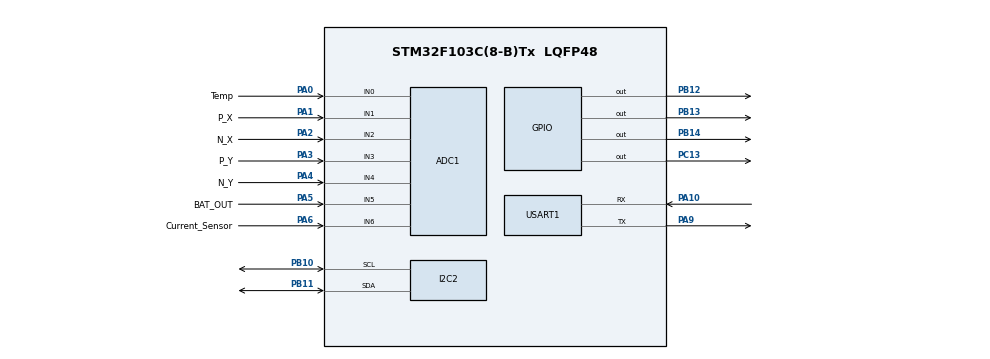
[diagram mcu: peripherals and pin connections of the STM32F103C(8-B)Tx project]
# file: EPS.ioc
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ADC1.Channel-0\#ChannelRegularConversion=ADC_CHANNEL_0
ADC1.NbrOfConversionFlag=1
ADC1.Rank-0\#ChannelRegularConversion=1
ADC1.SamplingTime-0\#ChannelRegularConversion=ADC_SAMPLETIME_1CYCLE_5
ADC1.master=1
Mcu.Family=STM32F1
Mcu.Name=STM32F103C(8-B)Tx
Mcu.Package=LQFP48
NVIC.PriorityGroup=NVIC_PRIORITYGROUP_4
NVIC.USART1_IRQn=true\:0\:0\:false\:false\:true\:true\:true\:true
PA0-WKUP.GPIO_Label=Temp
PA0-WKUP.Signal=ADCx_IN0
PA1.GPIO_Label=P_X
PA1.Signal=ADCx_IN1
PA10.Mode=Asynchronous
PA10.Signal=USART1_RX
PA13.Mode=Serial_Wire
PA13.Signal=SYS_JTMS-SWDIO
PA14.Mode=Serial_Wire
PA14.Signal=SYS_JTCK-SWCLK
PA2.GPIO_Label=N_X
PA2.Signal=ADCx_IN2
PA3.GPIO_Label=P_Y
PA3.Signal=ADCx_IN3
PA4.GPIO_Label=N_Y
PA4.Signal=ADCx_IN4
PA5.GPIO_Label=BAT_OUT
PA5.Signal=ADCx_IN5
PA6.GPIO_Label=Current_Sensor
PA6.Signal=ADCx_IN6
PA9.Mode=Asynchronous
PA9.Signal=USART1_TX
PB10.Mode=I2C
PB10.Signal=I2C2_SCL
PB11.Mode=I2C
PB11.Signal=I2C2_SDA
PB12.GPIO_PuPd=GPIO_PULLDOWN
PB12.Signal=GPIO_Output
PB13.GPIO_PuPd=GPIO_PULLDOWN
PB13.Signal=GPIO_Output
PB14.GPIO_PuPd=GPIO_PULLDOWN
PB14.Signal=GPIO_Output
PC13-TAMPER-RTC.GPIO_PuPd=GPIO_PULLDOWN
PC13-TAMPER-RTC.Signal=GPIO_Output
ProjectManager.HeapSize=0x200
ProjectManager.StackSize=0x400
ProjectManager.TargetToolchain=STM32CubeIDE
RCC.APB1Freq_Value=8000000
RCC.APB2Freq_Value=8000000
SH.ADCx_IN0.0=ADC1_IN0,IN0
SH.ADCx_IN1.0=ADC1_IN1,IN1
SH.ADCx_IN2.0=ADC1_IN2,IN2
SH.ADCx_IN3.0=ADC1_IN3,IN3
SH.ADCx_IN4.0=ADC1_IN4,IN4
SH.ADCx_IN5.0=ADC1_IN5,IN5
SH.ADCx_IN6.0=ADC1_IN6,IN6
USART1.VirtualMode=VM_ASYNC
board=custom

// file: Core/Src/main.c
/* USER CODE BEGIN Header */
/**
  ******************************************************************************
  * @file           : main.c
  * @brief          : Main program body - EPS Control System
  ******************************************************************************
  * @attention
  *
  * Copyright (c) 2025 STMicroelectronics.
  * All rights reserved.
  *
  * This software is licensed under terms that can be found in the LICENSE file
  * in the root directory of this software component.
  * If no LICENSE file comes with this software, it is provided AS-IS.
  *
  ******************************************************************************
  */
/* USER CODE END Header */
#include "main.h"

/* USER CODE BEGIN Includes */
#include "lm35.h"
#include "eps_analog.h"
#include "config.h"
#include <stdio.h>
#include <string.h>
/* USER CODE END Includes */

ADC_HandleTypeDef hadc1;
I2C_HandleTypeDef hi2c2;
UART_HandleTypeDef huart1;

/* USER CODE BEGIN PV */
eps_data_t eps_data;
uint32_t last_read_time = 0;
uint32_t last_led_toggle = 0;
uint8_t led_state = 0;
char uart_buffer[200];
char uart_rx_buffer[50];
uint8_t uart_rx_index = 0;
uint8_t uart_rx_char;
volatile uint8_t uart_rx_complete = 0;  // Made volatile for interrupt safety
uint8_t i2c_data_buffer[32];

// Power control states (0 = OFF, 1 = ON)
uint8_t power_states[3] = {0, 0, 0}; // ADCS, COMM, PAYLOAD - start with all OFF
/* USER CODE END PV */

void SystemClock_Config(void);
static void MX_GPIO_Init(void);
static void MX_ADC1_Init(void);
static void MX_I2C2_Init(void);
static void MX_USART1_UART_Init(void);
/* USER CODE BEGIN PFP */
void HAL_UART_RxCpltCallback(UART_HandleTypeDef *huart);
void Process_UART_Command(void);
void Send_I2C_Data(void);
/* USER CODE END PFP */

int main(void)
{

  /* MCU Configuration--------------------------------------------------------*/

  /* Reset of all peripherals, Initializes the Flash interface and the Systick. */
  HAL_Init();

  /* Configure the system clock */
  SystemClock_Config();

  /* Initialize all configured peripherals */
  MX_GPIO_Init();
  MX_ADC1_Init();
  MX_I2C2_Init();
  MX_USART1_UART_Init();

  /* USER CODE BEGIN 2 */
  // Initialize EPS systems
  LM35_Init(&hadc1);
  EPS_Analog_Init(&hadc1);

  // Initialize power control (all subsystems OFF initially)
  EPS_PowerControlAll(0);
  power_states[0] = 0; // ADCS OFF
  power_states[1] = 0; // COMM OFF
  power_states[2] = 0; // PAYLOAD OFF

  // Initialize LED (PC13) OFF
  HAL_GPIO_WritePin(GPIOC, GPIO_PIN_13, GPIO_PIN_RESET);

  // Send startup messages
  HAL_Delay(100); // Small delay to ensure UART is ready
  strcpy(uart_buffer, "\r\n=== EPS System Initialized ===\r\n");
  HAL_UART_Transmit(&huart1, (uint8_t*)uart_buffer, strlen(uart_buffer), 1000);

  strcpy(uart_buffer, "All subsystems powered OFF by default\r\n");
  HAL_UART_Transmit(&huart1, (uint8_t*)uart_buffer, strlen(uart_buffer), 1000);

  strcpy(uart_buffer, "Available commands:\r\n");
  HAL_UART_Transmit(&huart1, (uint8_t*)uart_buffer, strlen(uart_buffer), 1000);

  strcpy(uart_buffer, "  ADCS_ON, ADCS_OFF\r\n");
  HAL_UART_Transmit(&huart1, (uint8_t*)uart_buffer, strlen(uart_buffer), 1000);

  strcpy(uart_buffer, "  COMM_ON, COMM_OFF\r\n");
  HAL_UART_Transmit(&huart1, (uint8_t*)uart_buffer, strlen(uart_buffer), 1000);

  strcpy(uart_buffer, "  PAYLOAD_ON, PAYLOAD_OFF\r\n");
  HAL_UART_Transmit(&huart1, (uint8_t*)uart_buffer, strlen(uart_buffer), 1000);

  strcpy(uart_buffer, "  STATUS\r\n");
  HAL_UART_Transmit(&huart1, (uint8_t*)uart_buffer, strlen(uart_buffer), 1000);

  strcpy(uart_buffer, "Ready for commands...\r\n\r\n");
  HAL_UART_Transmit(&huart1, (uint8_t*)uart_buffer, strlen(uart_buffer), 1000);

  // Initialize UART receive buffer and start interrupt-based reception
  memset(uart_rx_buffer, 0, sizeof(uart_rx_buffer));
  uart_rx_index = 0;
  uart_rx_complete = 0;

  // Start UART reception interrupt
  if (HAL_UART_Receive_IT(&huart1, &uart_rx_char, 1) != HAL_OK) {
      strcpy(uart_buffer, "ERROR: Failed to start UART reception\r\n");
      HAL_UART_Transmit(&huart1, (uint8_t*)uart_buffer, strlen(uart_buffer), 1000);
  }

  last_read_time = HAL_GetTick();
  last_led_toggle = HAL_GetTick();
  /* USER CODE END 2 */

  /* Infinite loop */
  while (1)
  {

    /* USER CODE BEGIN 3 */
    uint32_t current_time = HAL_GetTick();

    // Toggle LED every 500ms to indicate system is alive
    if (current_time - last_led_toggle >= 500) {
        last_led_toggle = current_time;
        led_state = !led_state;
        HAL_GPIO_WritePin(GPIOC, GPIO_PIN_13, led_state ? GPIO_PIN_SET : GPIO_PIN_RESET);
    }

    // Check for completed UART commands
    if (uart_rx_complete) {
        uart_rx_complete = 0;
        Process_UART_Command();
    }

    // Read sensors every EPS_READ_INTERVAL_MS (1 second)
    if (current_time - last_read_time >= EPS_READ_INTERVAL_MS) {
        last_read_time = current_time;

        // Read all analog channels
        if (EPS_ReadAllChannels(&hadc1, &eps_data) == HAL_OK) {

            // Format and send detailed readings via UART
            strcpy(uart_buffer, "=== EPS READINGS ===\r\n");
            HAL_UART_Transmit(&huart1, (uint8_t*)uart_buffer, strlen(uart_buffer), 1000);

            snprintf(uart_buffer, sizeof(uart_buffer), "Temperature: %.2f °C\r\n", eps_data.temperature);
            HAL_UART_Transmit(&huart1, (uint8_t*)uart_buffer, strlen(uart_buffer), 1000);

            snprintf(uart_buffer, sizeof(uart_buffer), "Solar Panel +X: %.3f V\r\n", eps_data.solar_p_x);
            HAL_UART_Transmit(&huart1, (uint8_t*)uart_buffer, strlen(uart_buffer), 1000);

            snprintf(uart_buffer, sizeof(uart_buffer), "Solar Panel -X: %.3f V\r\n", eps_data.solar_n_x);
            HAL_UART_Transmit(&huart1, (uint8_t*)uart_buffer, strlen(uart_buffer), 1000);

            snprintf(uart_buffer, sizeof(uart_buffer), "Solar Panel +Y: %.3f V\r\n", eps_data.solar_p_y);
            HAL_UART_Transmit(&huart1, (uint8_t*)uart_buffer, strlen(uart_buffer), 1000);

            snprintf(uart_buffer, sizeof(uart_buffer), "Solar Panel -Y: %.3f V\r\n", eps_data.solar_n_y);
            HAL_UART_Transmit(&huart1, (uint8_t*)uart_buffer, strlen(uart_buffer), 1000);

            snprintf(uart_buffer, sizeof(uart_buffer), "Battery Voltage: %.3f V\r\n", eps_data.battery_voltage);
            HAL_UART_Transmit(&huart1, (uint8_t*)uart_buffer, strlen(uart_buffer), 1000);

            snprintf(uart_buffer, sizeof(uart_buffer), "Current Sensor: %.3f V\r\n", eps_data.current_sensor);
            HAL_UART_Transmit(&huart1, (uint8_t*)uart_buffer, strlen(uart_buffer), 1000);

            // Calculate and display total solar power
            float solar_total = eps_data.solar_p_x + eps_data.solar_n_x + eps_data.solar_p_y + eps_data.solar_n_y;
            snprintf(uart_buffer, sizeof(uart_buffer), "Total Solar Voltage: %.3f V\r\n", solar_total);
            HAL_UART_Transmit(&huart1, (uint8_t*)uart_buffer, strlen(uart_buffer), 1000);

            // Display current power status
            snprintf(uart_buffer, sizeof(uart_buffer), "Power Status: ADCS=%s, COMM=%s, PAYLOAD=%s\r\n",
                     power_states[0] ? "ON" : "OFF",
                     power_states[1] ? "ON" : "OFF",
                     power_states[2] ? "ON" : "OFF");
            HAL_UART_Transmit(&huart1, (uint8_t*)uart_buffer, strlen(uart_buffer), 1000);

            strcpy(uart_buffer, "==================\r\n\r\n");
            HAL_UART_Transmit(&huart1, (uint8_t*)uart_buffer, strlen(uart_buffer), 1000);

            // Send data via I2C to other subsystems
            Send_I2C_Data();

        } else {
            strcpy(uart_buffer, "ERROR: Failed to read analog channels\r\n");
            HAL_UART_Transmit(&huart1, (uint8_t*)uart_buffer, strlen(uart_buffer), 1000);
        }
    }

    HAL_Delay(10);  // Small delay to prevent overwhelming the system
  }
  /* USER CODE END 3 */
}

void SystemClock_Config(void)
{
  RCC_OscInitTypeDef RCC_OscInitStruct = {0};
  RCC_ClkInitTypeDef RCC_ClkInitStruct = {0};
  RCC_PeriphCLKInitTypeDef PeriphClkInit = {0};

  /** Initializes the RCC Oscillators according to the specified parameters
  * in the RCC_OscInitTypeDef structure.
  */
  RCC_OscInitStruct.OscillatorType = RCC_OSCILLATORTYPE_HSI;
  RCC_OscInitStruct.HSIState = RCC_HSI_ON;
  RCC_OscInitStruct.HSICalibrationValue = RCC_HSICALIBRATION_DEFAULT;
  RCC_OscInitStruct.PLL.PLLState = RCC_PLL_NONE;
  if (HAL_RCC_OscConfig(&RCC_OscInitStruct) != HAL_OK)
  {
    Error_Handler();
  }

  /** Initializes the CPU, AHB and APB buses clocks
  */
  RCC_ClkInitStruct.ClockType = RCC_CLOCKTYPE_HCLK|RCC_CLOCKTYPE_SYSCLK
                              |RCC_CLOCKTYPE_PCLK1|RCC_CLOCKTYPE_PCLK2;
  RCC_ClkInitStruct.SYSCLKSource = RCC_SYSCLKSOURCE_HSI;
  RCC_ClkInitStruct.AHBCLKDivider = RCC_SYSCLK_DIV1;
  RCC_ClkInitStruct.APB1CLKDivider = RCC_HCLK_DIV1;
  RCC_ClkInitStruct.APB2CLKDivider = RCC_HCLK_DIV1;

  if (HAL_RCC_ClockConfig(&RCC_ClkInitStruct, FLASH_LATENCY_0) != HAL_OK)
  {
    Error_Handler();
  }
  PeriphClkInit.PeriphClockSelection = RCC_PERIPHCLK_ADC;
  PeriphClkInit.AdcClockSelection = RCC_ADCPCLK2_DIV2;
  if (HAL_RCCEx_PeriphCLKConfig(&PeriphClkInit) != HAL_OK)
  {
    Error_Handler();
  }
}

static void MX_ADC1_Init(void)
{

  ADC_ChannelConfTypeDef sConfig = {0};

  /** Common config
  */
  hadc1.Instance = ADC1;
  hadc1.Init.ScanConvMode = ADC_SCAN_DISABLE;
  hadc1.Init.ContinuousConvMode = DISABLE;
  hadc1.Init.DiscontinuousConvMode = DISABLE;
  hadc1.Init.ExternalTrigConv = ADC_SOFTWARE_START;
  hadc1.Init.DataAlign = ADC_DATAALIGN_RIGHT;
  hadc1.Init.NbrOfConversion = 1;
  if (HAL_ADC_Init(&hadc1) != HAL_OK)
  {
    Error_Handler();
  }

  /** Configure Regular Channel
  */
  sConfig.Channel = ADC_CHANNEL_0;
  sConfig.Rank = ADC_REGULAR_RANK_1;
  sConfig.SamplingTime = ADC_SAMPLETIME_1CYCLE_5;
  if (HAL_ADC_ConfigChannel(&hadc1, &sConfig) != HAL_OK)
  {
    Error_Handler();
  }
}

static void MX_I2C2_Init(void)
{

  hi2c2.Instance = I2C2;
  hi2c2.Init.ClockSpeed = 100000;
  hi2c2.Init.DutyCycle = I2C_DUTYCYCLE_2;
  hi2c2.Init.OwnAddress1 = 0;
  hi2c2.Init.AddressingMode = I2C_ADDRESSINGMODE_7BIT;
  hi2c2.Init.DualAddressMode = I2C_DUALADDRESS_DISABLE;
  hi2c2.Init.OwnAddress2 = 0;
  hi2c2.Init.GeneralCallMode = I2C_GENERALCALL_DISABLE;
  hi2c2.Init.NoStretchMode = I2C_NOSTRETCH_DISABLE;
  if (HAL_I2C_Init(&hi2c2) != HAL_OK)
  {
    Error_Handler();
  }
}

static void MX_USART1_UART_Init(void)
{

  huart1.Instance = USART1;
  huart1.Init.BaudRate = 115200;
  huart1.Init.WordLength = UART_WORDLENGTH_8B;
  huart1.Init.StopBits = UART_STOPBITS_1;
  huart1.Init.Parity = UART_PARITY_NONE;
  huart1.Init.Mode = UART_MODE_TX_RX;
  huart1.Init.HwFlowCtl = UART_HWCONTROL_NONE;
  huart1.Init.OverSampling = UART_OVERSAMPLING_16;
  if (HAL_UART_Init(&huart1) != HAL_OK)
  {
    Error_Handler();
  }
}

static void MX_GPIO_Init(void)
{
  GPIO_InitTypeDef GPIO_InitStruct = {0};

  /* GPIO Ports Clock Enable */
  __HAL_RCC_GPIOC_CLK_ENABLE();
  __HAL_RCC_GPIOA_CLK_ENABLE();
  __HAL_RCC_GPIOB_CLK_ENABLE();

  /*Configure GPIO pin Output Level */
  HAL_GPIO_WritePin(GPIOC, GPIO_PIN_13, GPIO_PIN_RESET);

  /*Configure GPIO pin Output Level */
  HAL_GPIO_WritePin(GPIOB, GPIO_PIN_12|GPIO_PIN_13|GPIO_PIN_14, GPIO_PIN_RESET);

  /*Configure GPIO pin : PC13 */
  GPIO_InitStruct.Pin = GPIO_PIN_13;
  GPIO_InitStruct.Mode = GPIO_MODE_OUTPUT_PP;
  GPIO_InitStruct.Pull = GPIO_PULLDOWN;
  GPIO_InitStruct.Speed = GPIO_SPEED_FREQ_LOW;
  HAL_GPIO_Init(GPIOC, &GPIO_InitStruct);

  /*Configure GPIO pins : PB12 PB13 PB14 */
  GPIO_InitStruct.Pin = GPIO_PIN_12|GPIO_PIN_13|GPIO_PIN_14;
  GPIO_InitStruct.Mode = GPIO_MODE_OUTPUT_PP;
  GPIO_InitStruct.Pull = GPIO_PULLDOWN;
  GPIO_InitStruct.Speed = GPIO_SPEED_FREQ_LOW;
  HAL_GPIO_Init(GPIOB, &GPIO_InitStruct);

}

/* USER CODE BEGIN 4 */

/**
  * @brief  UART Rx Transfer completed callback
  * @param  huart: UART handle
  * @retval None
  */
void HAL_UART_RxCpltCallback(UART_HandleTypeDef *huart)
{
    if (huart->Instance == USART1)
    {
        if (uart_rx_char == '\r' || uart_rx_char == '\n')
        {
            // Command complete - only process if we have received characters
            if (uart_rx_index > 0)
            {
                uart_rx_buffer[uart_rx_index] = '\0';
                uart_rx_complete = 1;
                uart_rx_index = 0;
            }
        }
        else if (uart_rx_index < sizeof(uart_rx_buffer) - 1)
        {
            // Store character and increment index
            uart_rx_buffer[uart_rx_index++] = uart_rx_char;
        }
        else
        {
            // Buffer overflow - reset
            uart_rx_index = 0;
            memset(uart_rx_buffer, 0, sizeof(uart_rx_buffer));
        }

        // Restart reception for next character
        HAL_UART_Receive_IT(&huart1, &uart_rx_char, 1);
    }
}

/**
  * @brief  Process received UART command
  * @param  None
  * @retval None
  */
void Process_UART_Command(void)
{
    // Convert to uppercase for case-insensitive comparison
    for (int i = 0; uart_rx_buffer[i]; i++) {
        if (uart_rx_buffer[i] >= 'a' && uart_rx_buffer[i] <= 'z') {
            uart_rx_buffer[i] = uart_rx_buffer[i] - 'a' + 'A';
        }
    }

    // Echo received command for debugging
    snprintf(uart_buffer, sizeof(uart_buffer), "Received: %s\r\n", uart_rx_buffer);
    HAL_UART_Transmit(&huart1, (uint8_t*)uart_buffer, strlen(uart_buffer), 1000);

    // Process commands
    if (strcmp(uart_rx_buffer, "ADCS_OFF") == 0) {
        EPS_PowerControl(POWER_SUBSYS_1, 0);
        power_states[0] = 0;
        strcpy(uart_buffer, "COMMAND: ADCS subsystem powered OFF (PB12=LOW)\r\n");
        HAL_UART_Transmit(&huart1, (uint8_t*)uart_buffer, strlen(uart_buffer), 1000);
    }
    else if (strcmp(uart_rx_buffer, "ADCS_ON") == 0) {
        EPS_PowerControl(POWER_SUBSYS_1, 1);
        power_states[0] = 1;
        strcpy(uart_buffer, "COMMAND: ADCS subsystem powered ON (PB12=HIGH)\r\n");
        HAL_UART_Transmit(&huart1, (uint8_t*)uart_buffer, strlen(uart_buffer), 1000);
    }
    else if (strcmp(uart_rx_buffer, "COMM_OFF") == 0) {
        EPS_PowerControl(POWER_SUBSYS_2, 0);
        power_states[1] = 0;
        strcpy(uart_buffer, "COMMAND: COMM subsystem powered OFF (PB13=LOW)\r\n");
        HAL_UART_Transmit(&huart1, (uint8_t*)uart_buffer, strlen(uart_buffer), 1000);
    }
    else if (strcmp(uart_rx_buffer, "COMM_ON") == 0) {
        EPS_PowerControl(POWER_SUBSYS_2, 1);
        power_states[1] = 1;
        strcpy(uart_buffer, "COMMAND: COMM subsystem powered ON (PB13=HIGH)\r\n");
        HAL_UART_Transmit(&huart1, (uint8_t*)uart_buffer, strlen(uart_buffer), 1000);
    }
    else if (strcmp(uart_rx_buffer, "PAYLOAD_OFF") == 0) {
        EPS_PowerControl(POWER_SUBSYS_3, 0);
        power_states[2] = 0;
        strcpy(uart_buffer, "COMMAND: PAYLOAD subsystem powered OFF (PB14=LOW)\r\n");
        HAL_UART_Transmit(&huart1, (uint8_t*)uart_buffer, strlen(uart_buffer), 1000);
    }
    else if (strcmp(uart_rx_buffer, "PAYLOAD_ON") == 0) {
        EPS_PowerControl(POWER_SUBSYS_3, 1);
        power_states[2] = 1;
        strcpy(uart_buffer, "COMMAND: PAYLOAD subsystem powered ON (PB14=HIGH)\r\n");
        HAL_UART_Transmit(&huart1, (uint8_t*)uart_buffer, strlen(uart_buffer), 1000);
    }
    else if (strcmp(uart_rx_buffer, "STATUS") == 0) {
        snprintf(uart_buffer, sizeof(uart_buffer), "POWER STATUS:\r\n");
        HAL_UART_Transmit(&huart1, (uint8_t*)uart_buffer, strlen(uart_buffer), 1000);
        snprintf(uart_buffer, sizeof(uart_buffer), "  ADCS (PB12): %s\r\n", power_states[0] ? "ON" : "OFF");
        HAL_UART_Transmit(&huart1, (uint8_t*)uart_buffer, strlen(uart_buffer), 1000);
        snprintf(uart_buffer, sizeof(uart_buffer), "  COMM (PB13): %s\r\n", power_states[1] ? "ON" : "OFF");
        HAL_UART_Transmit(&huart1, (uint8_t*)uart_buffer, strlen(uart_buffer), 1000);
        snprintf(uart_buffer, sizeof(uart_buffer), "  PAYLOAD (PB14): %s\r\n", power_states[2] ? "ON" : "OFF");
        HAL_UART_Transmit(&huart1, (uint8_t*)uart_buffer, strlen(uart_buffer), 1000);
    }
    else {
        snprintf(uart_buffer, sizeof(uart_buffer), "ERROR: Unknown command '%s'\r\n", uart_rx_buffer);
        HAL_UART_Transmit(&huart1, (uint8_t*)uart_buffer, strlen(uart_buffer), 1000);
        strcpy(uart_buffer, "Valid commands: ADCS_ON, ADCS_OFF, COMM_ON, COMM_OFF, PAYLOAD_ON, PAYLOAD_OFF, STATUS\r\n");
        HAL_UART_Transmit(&huart1, (uint8_t*)uart_buffer, strlen(uart_buffer), 1000);
    }

    // Clear the receive buffer
    memset(uart_rx_buffer, 0, sizeof(uart_rx_buffer));
}

/**
  * @brief  Send EPS data via I2C to other subsystems
  * @param  None
  * @retval None
  */
void Send_I2C_Data(void)
{
    // Prepare I2C data buffer with EPS readings
    float solar_total = eps_data.solar_p_x + eps_data.solar_n_x + eps_data.solar_p_y + eps_data.solar_n_y;

    // Pack data into I2C buffer (integer and fractional parts)
    i2c_data_buffer[0] = (uint8_t)eps_data.temperature;
    i2c_data_buffer[1] = (uint8_t)((eps_data.temperature - (uint8_t)eps_data.temperature) * 100);
    i2c_data_buffer[2] = (uint8_t)eps_data.battery_voltage;
    i2c_data_buffer[3] = (uint8_t)((eps_data.battery_voltage - (uint8_t)eps_data.battery_voltage) * 100);
    i2c_data_buffer[4] = (uint8_t)solar_total;
    i2c_data_buffer[5] = (uint8_t)((solar_total - (uint8_t)solar_total) * 100);
    i2c_data_buffer[6] = (uint8_t)eps_data.current_sensor;
    i2c_data_buffer[7] = (uint8_t)((eps_data.current_sensor - (uint8_t)eps_data.current_sensor) * 100);
    i2c_data_buffer[8] = power_states[0]; // ADCS power state
    i2c_data_buffer[9] = power_states[1]; // COMM power state
    i2c_data_buffer[10] = power_states[2]; // PAYLOAD power state

    // Try to send data via I2C (this will fail if no device is connected, which is okay)
    // You can implement specific I2C addresses for different subsystems as needed
    HAL_StatusTypeDef result = HAL_I2C_Master_Transmit(&hi2c2, EPS_I2C_ADDRESS << 1,
                                                       i2c_data_buffer, 11, EPS_I2C_TIMEOUT_MS);

    // Optional: Log I2C transmission status (comment out to reduce UART spam)
    // if (result != HAL_OK) {
    //     strcpy(uart_buffer, "I2C: No device connected (this is normal during testing)\r\n");
    //     HAL_UART_Transmit(&huart1, (uint8_t*)uart_buffer, strlen(uart_buffer), 1000);
    // }
}

/* USER CODE END 4 */

void Error_Handler(void)
{
  __disable_irq();
  while (1)
  {
  }
}
